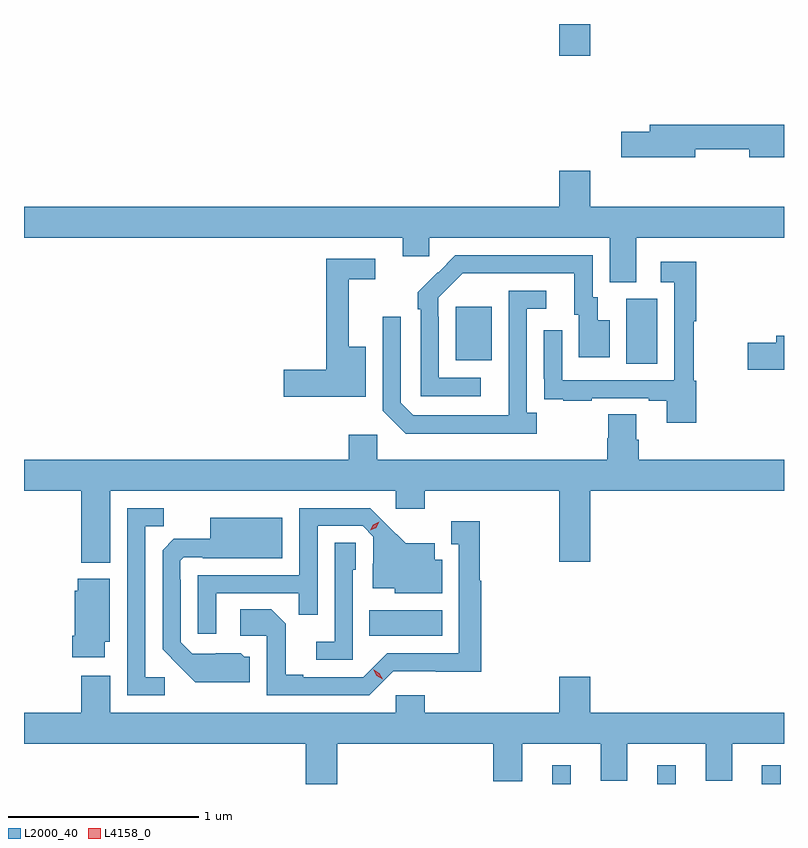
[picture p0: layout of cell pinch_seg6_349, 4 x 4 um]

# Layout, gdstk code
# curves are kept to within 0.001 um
import gdstk
lib = gdstk.Library(unit=1e-6, precision=1e-09)
def R(c, l, rs):  # rectangles x0, y0, x1, y1
    for r in rs: c.add(gdstk.rectangle(r[:2], r[2:], *l))
def A(c, l, x, y, w, h, nx, ny, dx, dy):  # array of equal rectangles
    R(c, l, [(x+i*dx, y+j*dy, x+i*dx+w, y+j*dy+h) for i in range(nx) for j in range(ny)])
def P(c, l, *ps):  # polygons
    for p in ps: c.add(gdstk.Polygon(p, *l))
L2000_40 = (2000, 40)
L4158_0 = (4158, 0)

pinch_seg6_349 = lib.new_cell('pinch_seg6_349')
A(pinch_seg6_349, L2000_40, 656.48, 949.789, 0.098, 0.099, 3, 1, 0.552, 0)
R(pinch_seg6_349, L2000_40, [(655.516,950.57,655.9,950.704), (656.87,952,657.034,952.344), (655.973,952.019,656.161,952.3), (656.516,953.622,656.68,953.789)])
P(pinch_seg6_349, L2000_40, [(657.232,953.13),(657.518,953.13),(657.518,953.087),(657.7,953.087),(657.7,953.258),(656.993,953.258),(656.993,953.222),(656.844,953.222),(656.844,953.087),(657.232,953.087)],
  [(656.923,952.664),(657.7,952.664),(657.7,952.828),(656.68,952.828),(656.68,953.017),(656.516,953.017),(656.516,952.828),(653.7,952.828),(653.7,952.664),(655.694,952.664),(655.694,952.566),(655.833,952.566),(655.833,952.664),(656.783,952.664),(656.783,952.429),(656.923,952.429)],
  [(656.104,951.927),(655.884,951.927),(655.884,952.247),(655.881,952.247),(655.881,952.347),(656.01,952.476),(656.597,952.476),(656.597,952.26),(656.621,952.26),(656.621,952.035),(656.782,952.035),(656.782,952.231),(656.719,952.231),(656.719,952.35),(656.694,952.35),(656.694,952.572),(655.97,952.572),(655.773,952.377),(655.773,952.289),(655.788,952.289),(655.788,951.831),(656.104,951.831)],
  [(655.498,952.09),(655.409,952.09),(655.409,952.446),(655.549,952.446),(655.549,952.554),(655.291,952.554),(655.291,951.968),(655.068,951.968),(655.068,951.826),(655.498,951.826)],
  [(657.239,951.912),(657.224,951.912),(657.224,952.224),(657.239,952.224),(657.239,952.537),(657.051,952.537),(657.051,952.431),(657.123,952.431),(657.123,951.915),(656.532,951.915),(656.532,952.177),(656.436,952.177),(656.436,951.922),(656.437,951.922),(656.437,951.813),(656.539,951.813),(656.539,951.807),(656.687,951.807),(656.687,951.819),(656.987,951.819),(656.987,951.807),(657.083,951.807),(657.083,951.69),(657.239,951.69)],
  [(656.398,951.742),(656.346,951.742),(656.346,952.29),(656.449,952.29),(656.449,952.386),(656.25,952.386),(656.25,951.729),(655.749,951.729),(655.683,951.795),(655.683,952.249),(655.587,952.249),(655.587,951.753),(655.708,951.632),(656.398,951.632)],
  [(657.7,952.148),(657.659,952.148),(657.659,952.112),(657.51,952.112),(657.51,951.97),(657.7,951.97)],
  [(654.154,951.332),(655.656,951.332),(655.656,951.237),(655.808,951.237),(655.808,951.332),(656.516,951.332),(656.516,950.958),(656.68,950.958),(656.68,951.332),(657.7,951.332),(657.7,951.496),(656.936,951.496),(656.936,951.602),(656.923,951.602),(656.923,951.734),(656.776,951.734),(656.776,951.609),(656.771,951.609),(656.771,951.496),(655.56,951.496),(655.56,951.628),(655.409,951.628),(655.409,951.496),(653.7,951.496),(653.7,951.332),(654.002,951.332),(654.002,950.954),(654.154,950.954)],
  [(654.442,950.352),(654.339,950.352),(654.339,951.145),(654.435,951.145),(654.435,951.24),(654.243,951.24),(654.243,950.256),(654.442,950.256)],
  [(654.711,950.793),(655.147,950.793),(655.147,950.68),(655.245,950.68),(655.245,951.147),(655.482,951.147),(655.539,951.09),(655.539,950.948),(655.535,950.948),(655.535,950.819),(655.65,950.819),(655.65,950.792),(655.9,950.792),(655.9,950.968),(655.861,950.968),(655.861,951.055),(655.709,951.055),(655.522,951.24),(655.149,951.24),(655.149,950.889),(654.615,950.889),(654.615,950.58),(654.711,950.58)],
  [(654.889,950.46),(654.858,950.46),(654.842,950.476),(654.585,950.475),(654.525,950.535),(654.525,950.864),(654.522,950.864),(654.522,950.964),(654.54,950.982),(654.64,950.982),(654.64,950.978),(655.06,950.978),(655.06,951.19),(654.68,951.19),(654.68,951.079),(654.488,951.079),(654.429,951.02),(654.429,950.498),(654.601,950.324),(654.889,950.324)],
  [(655.644,950.382),(656.107,950.381),(656.107,950.859),(656.099,950.859),(656.099,951.172),(655.949,951.172),(655.949,951.051),(655.988,951.051),(655.988,950.478),(655.611,950.478),(655.485,950.352),(655.171,950.352),(655.171,950.365),(655.077,950.365),(655.077,950.632),(655.001,950.708),(654.837,950.708),(654.837,950.568),(654.978,950.568),(654.978,950.256),(655.518,950.256)],
  [(655.431,950.916),(655.446,950.916),(655.446,951.059),(655.335,951.059),(655.335,950.539),(655.239,950.539),(655.239,950.442),(655.431,950.442)],
  [(654.124,950.538),(654.151,950.538),(654.151,950.869),(653.984,950.869),(653.984,950.805),(653.966,950.805),(653.966,950.569),(653.954,950.569),(653.954,950.457),(654.124,950.457)],
  [(655.348,950),(656.171,950),(656.171,949.803),(656.323,949.803),(656.323,950),(656.735,950),(656.735,949.807),(656.875,949.807),(656.875,950),(657.287,950),(657.287,949.807),(657.427,949.807),(657.427,950),(657.7,950),(657.7,950.164),(656.68,950.164),(656.68,950.353),(656.516,950.353),(656.516,950.164),(655.808,950.164),(655.808,950.257),(655.656,950.257),(655.656,950.164),(654.154,950.164),(654.154,950.359),(654.002,950.359),(654.002,950.164),(653.7,950.164),(653.7,950),(655.184,950),(655.184,949.789),(655.348,949.789)])
P(pinch_seg6_349, L4158_0, [(655.522,951.124),(655.522,951.124),(655.539,951.153),(655.57,951.168),(655.571,951.168),(655.571,951.168),(655.553,951.139),(655.522,951.124)],
  [(655.587,950.34),(655.556,950.359),(655.538,950.392),(655.538,950.392),(655.539,950.392),(655.57,950.373),(655.588,950.34),(655.588,950.34)])

lib.write_gds('pinch_seg6_349.gds')
